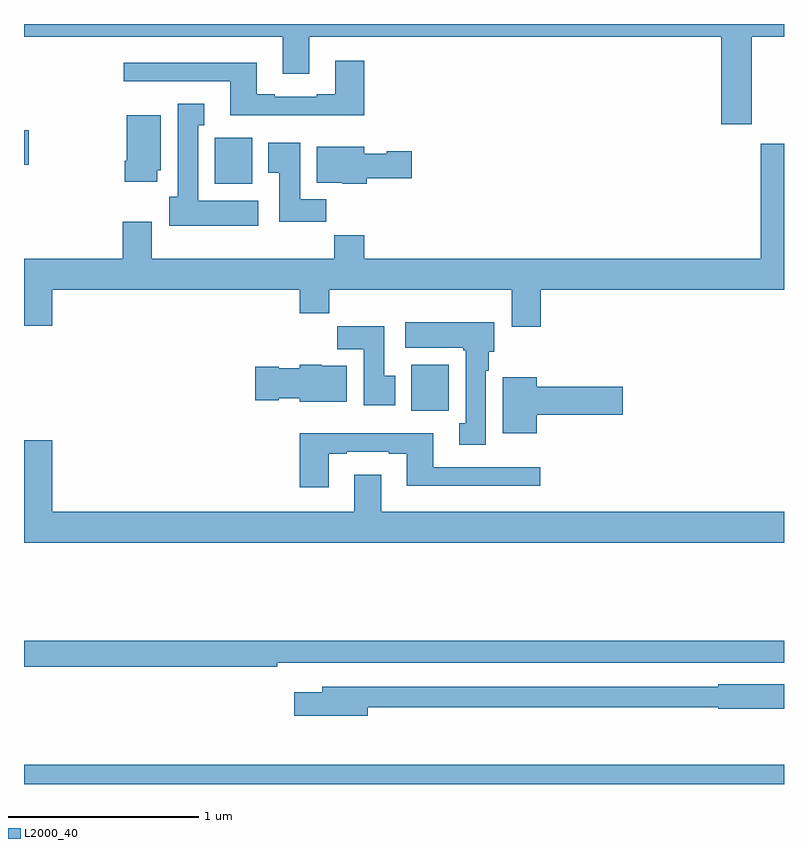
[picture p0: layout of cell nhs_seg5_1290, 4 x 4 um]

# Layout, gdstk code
import gdstk
lib = gdstk.Library(unit=1e-6, precision=1e-09)
def R(c, l, rs):  # rectangles x0, y0, x1, y1
    for r in rs: c.add(gdstk.rectangle(r[:2], r[2:], *l))
def P(c, l, *ps):  # polygons
    for p in ps: c.add(gdstk.Polygon(p, *l))
L2000_40 = (2000, 40)

nhs_seg5_1290 = lib.new_cell('nhs_seg5_1290')
R(nhs_seg5_1290, L2000_40, [(189,880.799,193,880.9), (191.039,882.764,191.236,883.006), (190.004,883.958,190.201,884.2), (189,884.057,189.025,884.24)])
P(nhs_seg5_1290, L2000_40, [(192.831,884.732),(193,884.732),(193,884.799),(189,884.799),(189,884.732),(190.361,884.732),(190.361,884.538),(190.501,884.538),(190.501,884.732),(192.671,884.732),(192.671,884.271),(192.831,884.271)],
  [(190.79,884.605),(190.637,884.605),(190.637,884.428),(190.541,884.428),(190.541,884.415),(190.321,884.415),(190.321,884.428),(190.225,884.428),(190.225,884.596),(189.525,884.596),(189.525,884.499),(190.085,884.499),(190.085,884.318),(190.79,884.318)],
  [(190.234,883.87),(189.916,883.87),(189.916,884.267),(189.949,884.267),(189.949,884.38),(189.809,884.38),(189.809,883.89),(189.764,883.89),(189.764,883.736),(190.234,883.736)],
  [(189.7,884.028),(189.721,884.028),(189.721,884.32),(189.542,884.32),(189.542,884.08),(189.53,884.08),(189.53,883.968),(189.7,883.968)],
  [(190.592,883.876),(190.453,883.876),(190.453,884.173),(190.286,884.173),(190.286,884.017),(190.343,884.017),(190.343,883.758),(190.592,883.758)],
  [(191.72,883.4),(193,883.4),(193,884.17),(192.878,884.17),(192.878,883.564),(190.79,883.564),(190.79,883.688),(190.633,883.688),(190.633,883.564),(189.673,883.564),(189.673,883.759),(189.521,883.759),(189.521,883.564),(189,883.564),(189,883.212),(189.148,883.212),(189.148,883.4),(190.451,883.4),(190.451,883.276),(190.607,883.276),(190.607,883.4),(191.567,883.4),(191.567,883.206),(191.72,883.206)],
  [(190.805,883.987),(191.041,883.987),(191.041,884.129),(190.908,884.129),(190.908,884.116),(190.792,884.116),(190.792,884.152),(190.541,884.152),(190.541,883.964),(190.674,883.964),(190.674,883.958),(190.805,883.958)],
  [(191.431,882.974),(191.446,882.974),(191.446,883.074),(191.476,883.074),(191.476,883.228),(191.007,883.228),(191.007,883.094),(191.311,883.094),(191.311,883.081),(191.324,883.081),(191.324,882.698),(191.291,882.698),(191.291,882.585),(191.431,882.585)],
  [(190.954,882.948),(190.897,882.948),(190.897,883.207),(190.648,883.207),(190.648,883.088),(190.787,883.088),(190.787,882.792),(190.954,882.792)],
  [(190.699,883),(190.566,883),(190.566,883.006),(190.452,883.006),(190.452,882.988),(190.341,882.988),(190.341,882.996),(190.218,882.996),(190.218,882.818),(190.341,882.818),(190.341,882.83),(190.452,882.83),(190.452,882.812),(190.699,882.812)],
  [(191.698,882.743),(192.151,882.743),(192.151,882.89),(191.698,882.89),(191.698,882.94),(191.519,882.94),(191.519,882.644),(191.698,882.644)],
  [(190.603,882.537),(190.699,882.537),(190.699,882.549),(190.919,882.549),(190.919,882.537),(191.015,882.537),(191.015,882.368),(191.716,882.368),(191.716,882.465),(191.155,882.465),(191.155,882.646),(190.451,882.646),(190.451,882.36),(190.603,882.36)],
  [(193,882.232),(190.879,882.232),(190.879,882.427),(190.739,882.427),(190.739,882.232),(189.148,882.232),(189.148,882.607),(189,882.607),(189,882.068),(193,882.068)],
  [(190.334,881.436),(193,881.436),(193,881.552),(189,881.552),(189,881.416),(190.334,881.416)],
  [(190.81,881.202),(192.654,881.202),(192.654,881.194),(193,881.194),(193,881.323),(192.654,881.323),(192.654,881.31),(190.571,881.31),(190.571,881.281),(190.422,881.281),(190.422,881.159),(190.81,881.159)])

lib.write_gds('nhs_seg5_1290.gds')
